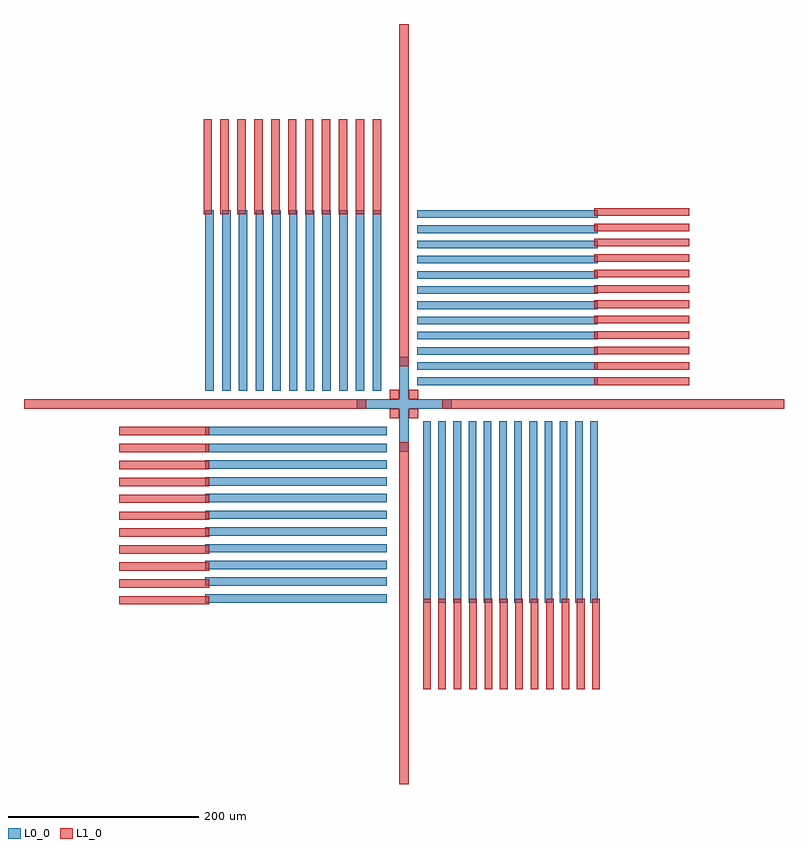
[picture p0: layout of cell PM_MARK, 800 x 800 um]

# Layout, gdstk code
import gdstk
lib = gdstk.Library(unit=1e-6, precision=1e-09)
def R(c, l, rs):  # rectangles x0, y0, x1, y1
    for r in rs: c.add(gdstk.rectangle(r[:2], r[2:], *l))
def A(c, l, x, y, w, h, nx, ny, dx, dy):  # array of equal rectangles
    R(c, l, [(x+i*dx, y+j*dy, x+i*dx+w, y+j*dy+h) for i in range(nx) for j in range(ny)])
def P(c, l, *ps):  # polygons
    for p in ps: c.add(gdstk.Polygon(p, *l))
L0_0 = (0, 0)
L1_0 = (1, 0)

pm_mark = lib.new_cell('PM_MARK')
A(pm_mark, L0_0, -209, -209, 191, 8.8, 1, 11, 0, 17.6)
A(pm_mark, L0_0, 20, -209, 8, 191, 12, 1, 16, 0)
A(pm_mark, L0_0, -209, 14, 8.8, 190, 11, 1, 17.6, 0)
A(pm_mark, L0_0, 14, 20, 190, 8, 1, 12, 0, 16)
R(pm_mark, L0_0, [(-50,-5,-5,5), (5,-5,50,5)])
P(pm_mark, L0_0, [(-5,-50),(-5,0.5),(-2.5,0.5),(-2.5,-0.5),(-0.5,-0.5),(-0.5,-2.5),(0.5,-2.5),(0.5,-0.5),(2.5,-0.5),(2.5,0.5),(0.5,0.5),(0.5,2.5),(-0.5,2.5),(-0.5,0.5),(-5,0.5),(-5,50),(5,50),(5,-50)])
A(pm_mark, L1_0, 20, -300, 8, 95, 12, 1, 16.2, 0)
A(pm_mark, L1_0, -300, -211, 95, 8.8, 1, 11, 0, 17.8)
A(pm_mark, L1_0, 200, 20, 100, 8, 1, 12, 0, 16.2)
A(pm_mark, L1_0, -211, 200, 8.8, 100, 11, 1, 17.8, 0)
R(pm_mark, L1_0, [(-5,-400,5,-40), (-15,-15,-5,-5), (5,-15,15,-5), (-400,-5,-40,5), (40,-5,400,5), (-15,5,-5,15), (5,5,15,15), (-5,40,5,400)])

lib.write_gds('PM_MARK.gds')
